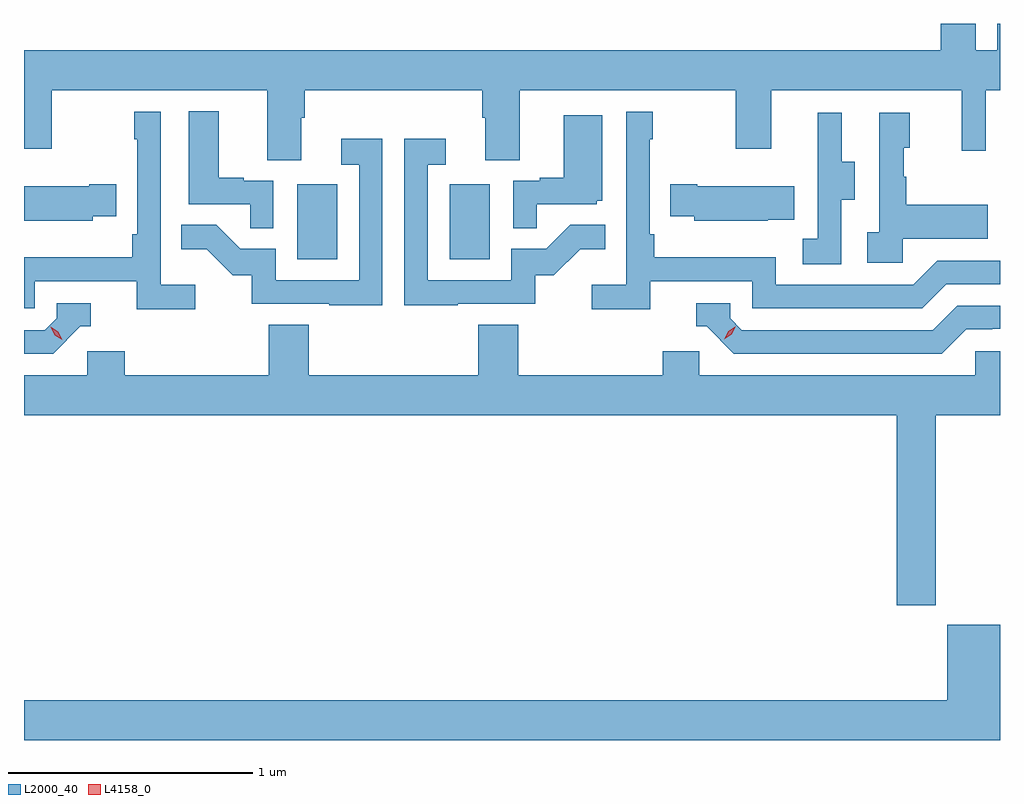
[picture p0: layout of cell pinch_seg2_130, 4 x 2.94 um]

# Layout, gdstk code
import gdstk
lib = gdstk.Library(unit=1e-6, precision=1e-09)
def R(c, l, rs):  # rectangles x0, y0, x1, y1
    for r in rs: c.add(gdstk.rectangle(r[:2], r[2:], *l))
def P(c, l, *ps):  # polygons
    for p in ps: c.add(gdstk.Polygon(p, *l))
L2000_40 = (2000, 40)
L4158_0 = (4158, 0)

pinch_seg2_130 = lib.new_cell('pinch_seg2_130')
R(pinch_seg2_130, L2000_40, [(1021.616,626.964,1021.78,627.271), (1022.24,626.964,1022.404,627.271)])
P(pinch_seg2_130, L2000_40, [(1021.633,627.544),(1021.646,627.544),(1021.646,627.656),(1022.375,627.656),(1022.375,627.544),(1022.387,627.544),(1022.387,627.37),(1022.527,627.37),(1022.527,627.656),(1023.412,627.656),(1023.412,627.417),(1023.559,627.417),(1023.559,627.656),(1024.34,627.656),(1024.34,627.408),(1024.437,627.408),(1024.437,627.656),(1024.496,627.656),(1024.496,627.929),(1024.484,627.929),(1024.484,627.82),(1024.396,627.82),(1024.396,627.929),(1024.253,627.929),(1024.253,627.82),(1020.496,627.82),(1020.496,627.417),(1020.609,627.417),(1020.609,627.656),(1021.493,627.656),(1021.493,627.37),(1021.633,627.37)],
  [(1021.518,627.285),(1021.397,627.285),(1021.397,627.298),(1021.294,627.298),(1021.294,627.571),(1021.172,627.571),(1021.172,627.189),(1021.423,627.189),(1021.423,627.091),(1021.518,627.091)],
  [(1021.198,626.86),(1021.056,626.86),(1021.056,627.568),(1020.948,627.568),(1020.948,627.455),(1020.96,627.455),(1020.96,627.067),(1020.94,627.067),(1020.94,626.971),(1020.496,626.971),(1020.496,626.763),(1020.54,626.763),(1020.54,626.874),(1020.959,626.874),(1020.959,626.758),(1021.198,626.758)],
  [(1023.062,626.874),(1023.48,626.874),(1023.48,626.763),(1024.177,626.763),(1024.276,626.862),(1024.496,626.862),(1024.496,626.958),(1024.239,626.958),(1024.14,626.859),(1023.576,626.859),(1023.576,626.971),(1023.08,626.971),(1023.08,627.067),(1023.06,627.067),(1023.06,627.455),(1023.073,627.455),(1023.073,627.568),(1022.964,627.568),(1022.964,626.86),(1022.823,626.86),(1022.823,626.758),(1023.062,626.758)],
  [(1024.098,627.047),(1024.445,627.047),(1024.445,627.187),(1024.111,627.187),(1024.111,627.302),(1024.101,627.302),(1024.101,627.42),(1024.126,627.42),(1024.126,627.565),(1024.002,627.565),(1024.002,627.074),(1023.951,627.074),(1023.951,626.949),(1024.098,626.949)],
  [(1023.846,627.208),(1023.901,627.208),(1023.901,627.363),(1023.847,627.363),(1023.847,627.565),(1023.749,627.565),(1023.749,627.351),(1023.75,627.351),(1023.75,627.047),(1023.687,627.047),(1023.687,626.944),(1023.846,626.944)],
  [(1022.597,627.189),(1022.844,627.189),(1022.844,627.204),(1022.866,627.204),(1022.866,627.553),(1022.708,627.553),(1022.708,627.298),(1022.609,627.298),(1022.609,627.285),(1022.502,627.285),(1022.502,627.091),(1022.597,627.091)],
  [(1021.965,627.457),(1021.797,627.457),(1021.797,627.351),(1021.869,627.351),(1021.869,626.877),(1021.527,626.877),(1021.527,627.006),(1021.382,627.006),(1021.284,627.104),(1021.141,627.104),(1021.141,627.005),(1021.245,627.005),(1021.352,626.898),(1021.429,626.898),(1021.429,626.781),(1021.747,626.781),(1021.747,626.776),(1021.965,626.776)],
  [(1022.273,626.781),(1022.592,626.781),(1022.592,626.898),(1022.668,626.898),(1022.775,627.005),(1022.879,627.005),(1022.879,627.104),(1022.735,627.104),(1022.637,627.006),(1022.493,627.006),(1022.493,626.877),(1022.151,626.877),(1022.151,627.351),(1022.224,627.351),(1022.224,627.457),(1022.055,627.457),(1022.055,626.776),(1022.273,626.776)],
  [(1020.777,627.14),(1020.875,627.14),(1020.875,627.27),(1020.764,627.27),(1020.764,627.262),(1020.496,627.262),(1020.496,627.122),(1020.777,627.122)],
  [(1023.545,627.125),(1023.653,627.125),(1023.653,627.262),(1023.256,627.262),(1023.256,627.27),(1023.145,627.27),(1023.145,627.14),(1023.243,627.14),(1023.243,627.122),(1023.545,627.122)],
  [(1020.726,626.688),(1020.769,626.688),(1020.769,626.784),(1020.63,626.784),(1020.63,626.721),(1020.582,626.673),(1020.496,626.673),(1020.496,626.577),(1020.615,626.577)],
  [(1024.357,626.676),(1024.464,626.676),(1024.464,626.679),(1024.496,626.679),(1024.496,626.772),(1024.32,626.772),(1024.221,626.673),(1023.438,626.673),(1023.39,626.721),(1023.39,626.784),(1023.251,626.784),(1023.251,626.688),(1023.294,626.688),(1023.405,626.577),(1024.258,626.577)],
  [(1024.233,626.324),(1024.496,626.324),(1024.496,626.586),(1024.395,626.586),(1024.395,626.488),(1023.264,626.488),(1023.264,626.586),(1023.113,626.586),(1023.113,626.488),(1022.522,626.488),(1022.522,626.696),(1022.357,626.696),(1022.357,626.488),(1021.664,626.488),(1021.664,626.696),(1021.499,626.696),(1021.499,626.488),(1020.908,626.488),(1020.908,626.586),(1020.756,626.586),(1020.756,626.488),(1020.496,626.488),(1020.496,626.324),(1024.073,626.324),(1024.073,625.545),(1024.233,625.545)],
  [(1024.496,625.465),(1024.28,625.465),(1024.28,625.156),(1020.496,625.156),(1020.496,624.992),(1024.496,624.992)])
P(pinch_seg2_130, L4158_0, [(1020.652,626.634),(1020.621,626.653),(1020.605,626.686),(1020.605,626.686),(1020.605,626.686),(1020.636,626.666),(1020.652,626.634),(1020.652,626.634)],
  [(1023.366,626.636),(1023.366,626.636),(1023.382,626.669),(1023.412,626.688),(1023.412,626.688),(1023.412,626.688),(1023.396,626.656),(1023.366,626.636)])

lib.write_gds('pinch_seg2_130.gds')
